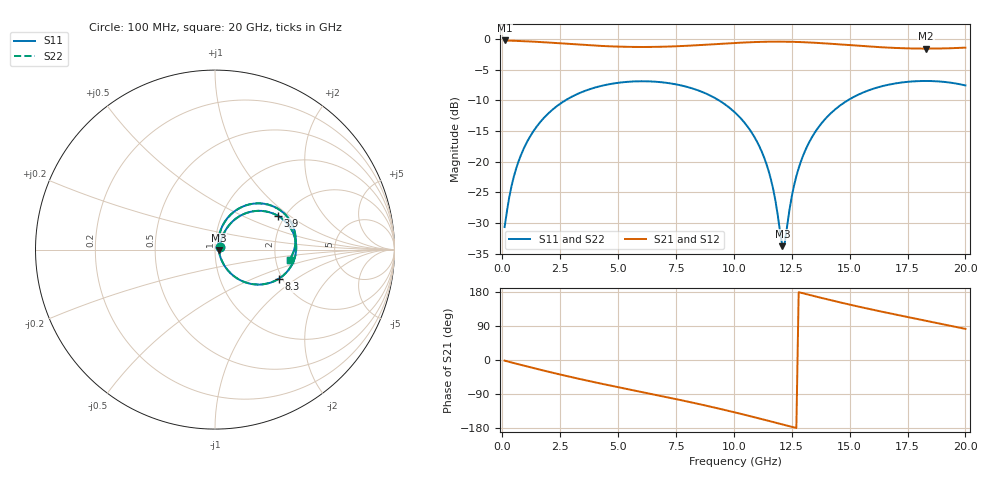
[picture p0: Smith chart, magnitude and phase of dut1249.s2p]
! Touchstone file exported from HFSS 2026.1.0
!  File:  C:/ffzhzh/LocalFiles/Ansys_Project_Files/temp_train_TSV_RDL_1249_1783325296_38820.aedt
!  Generated:  04:19:23 PM Jul  6, 2026
!  Design:  TSV_RDL
!  Project:  temp_train_TSV_RDL_1249_1783325296_38820
! Variables:
!  h_bsmrdl = 4.24um
!  h_ox = 20um
!  h_rdl = 5um
!  h_sub = 74.15um
!  h_tmrdl = 2.38um
!  h_tsv = 74.15um
!  h_via = 3um
!  l_bsmrdl = 622.47um
!  l_sub = 4632.61um
!  l_tmrdl = 559.68um
!  m_sub = 200um
!  pitch = 43.88um
!  r_tsv = 12.52um
!  s_tmrdl = 10um
!  w_bsmrdl = 23.55um
!  w_sub = 500um
!  w_tmrdl = 18.61um
!  x_tsv_center1 = 568.985um
!  x_tsv_center2 = 1215.005um
!  x_tsv_center3 = 1793.295um
!  x_tsv_center4 = 2439.315um
!  x_tsv_center5 = 3017.605um
!  x_tsv_center6 = 3663.625um
# GHz S MA R 50.000000
! Terminal data exported
! Port[1] = TM_RDL1_1_T1
! Port[2] = TM_RDL5_1_T1
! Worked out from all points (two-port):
!   200 points, 100 MHz to 20 GHz, reference 50 ohm
!   highest |S21| = -0.22 dB at 100 MHz (marker M1); lowest = -1.6 dB at 18.3 GHz (marker M2)
!   |S21| within 3 dB of the highest: start of sweep to end of sweep
!   lowest |S11| = -33.8 dB at 12.1 GHz (marker M3), VSWR 1.04, Z = 52.1 - j0.155 ohm
!   |S11| at or under -10 dB: start of sweep to 2.722 GHz; 9.358 GHz to 14.92 GHz (5.559 GHz wide, 45.8 % of centre)
!   |S22| runs from -33.7 to -6.8 dB; largest |S21 - S12| = 1.6e-14
!   S11 on the Smith chart (normalised r, x): 100 MHz: 1.05, +0.03; 3.9 GHz: 1.83, +0.82; 8.3 GHz: 1.92, -0.73; 20 GHz: 2.39, -0.33
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0.1  0.02927 29.0  0.9747 -1.7  0.9747 -1.7  0.02927 29.0
! Gamma 0 0 0 0
! Port Impedance 50 0 50 0
0.5  0.07573 59.5  0.9688 -8.1  0.9688 -8.1  0.07573 59.5
1.2  0.1604 59.8  0.9564 -19.0  0.9564 -19.0  0.1604 59.8
2.2  0.2688 49.4  0.9319 -34.0  0.9319 -34.0  0.2688 49.4
3.5  0.3737 33.3  0.8968 -52.2  0.8968 -52.2  0.3737 33.4
3.9  0.397 28.4  0.8873 -57.5  0.8873 -57.5  0.397 28.4
5.4  0.448 10.4  0.8644 -76.7  0.8644 -76.7  0.448 10.4
6.8  0.4462 -6.2  0.8652 -94.2  0.8652 -94.2  0.4462 -6.2
8.3  0.3907 -24.6  0.8884 -113.6  0.8884 -113.6  0.3907 -24.5
10.1  0.2466 -47.5  0.9309 -139.1  0.9309 -139.1  0.2466 -47.4
10.8  0.1693 -55.7  0.9443 -149.7  0.9443 -149.7  0.1693 -55.5
11.4  0.09664 -59.6  0.9514 -159.0  0.9514 -159.0  0.09671 -59.4
11.7  0.05963 -56.5  0.953 -163.7  0.953 -163.7  0.05975 -56.2
12.1  0.02044 -4.2  0.9529 -170.0  0.9529 -170.0  0.02077 -4.0
12.2  0.02186 30.0  0.9525 -171.6  0.9525 -171.6  0.02216 29.7
12.5  0.0518 68.9  0.9503 -176.3  0.9503 -176.3  0.05192 68.6
12.7  0.07617 73.3  0.948 -179.5  0.948 -179.5  0.07624 73.1
13.4  0.1613 70.9  0.9358 169.7  0.9358 169.7  0.1614 70.8
14.7  0.2974 55.5  0.9014 150.4  0.9014 150.4  0.2974 55.5
16.7  0.4252 30.9  0.8512 123.6  0.8512 123.6  0.4252 30.9
18.3  0.4554 12.1  0.8362 103.6  0.8362 103.6  0.4554 12.2
20  0.419 -7.7  0.8518 82.1  0.8518 82.1  0.419 -7.7
